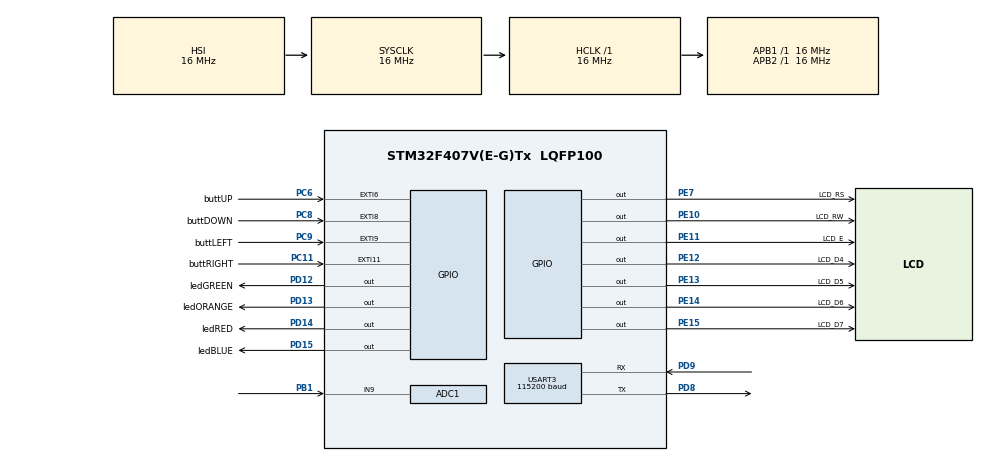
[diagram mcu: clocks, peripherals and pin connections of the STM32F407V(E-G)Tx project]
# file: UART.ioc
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ADC1.Channel-0\#ChannelRegularConversion=ADC_CHANNEL_9
ADC1.Channel-1\#ChannelInjectedConversion=ADC_CHANNEL_9
ADC1.InjNumberOfConversion=1
ADC1.InjectedOffset-1\#ChannelInjectedConversion=0
ADC1.InjectedRank-1\#ChannelInjectedConversion=1
ADC1.NbrOfConversionFlag=1
ADC1.Rank-0\#ChannelRegularConversion=1
ADC1.SamplingTime-0\#ChannelRegularConversion=ADC_SAMPLETIME_3CYCLES
ADC1.SamplingTime-1\#ChannelInjectedConversion=ADC_SAMPLETIME_480CYCLES
ADC1.ScanConvMode=ENABLE
ADC1.master=1
Mcu.Family=STM32F4
Mcu.Name=STM32F407V(E-G)Tx
Mcu.Package=LQFP100
NVIC.ADC_IRQn=true\:0\:0\:false\:false\:true\:true\:true
NVIC.EXTI15_10_IRQn=true\:0\:0\:false\:false\:true\:true\:true
NVIC.EXTI9_5_IRQn=true\:0\:0\:false\:false\:true\:true\:true
NVIC.PriorityGroup=NVIC_PRIORITYGROUP_4
NVIC.USART3_IRQn=true\:0\:0\:false\:false\:true\:true\:true
PA13.Mode=Trace_Asynchronous_SW
PA13.Signal=SYS_JTMS-SWDIO
PA14.Mode=Trace_Asynchronous_SW
PA14.Signal=SYS_JTCK-SWCLK
PB1.Signal=ADCx_IN9
PB3.Mode=Trace_Asynchronous_SW
PB3.Signal=SYS_JTDO-SWO
PC11.GPIO_Label=buttRIGHT
PC11.GPIO_PuPd=GPIO_PULLUP
PC11.Signal=GPXTI11
PC6.GPIO_Label=buttUP
PC6.GPIO_PuPd=GPIO_PULLUP
PC6.Signal=GPXTI6
PC8.GPIO_Label=buttDOWN
PC8.GPIO_PuPd=GPIO_PULLUP
PC8.Signal=GPXTI8
PC9.GPIO_Label=buttLEFT
PC9.GPIO_PuPd=GPIO_PULLUP
PC9.Signal=GPXTI9
PD12.GPIO_Label=ledGREEN
PD12.Signal=GPIO_Output
PD13.GPIO_Label=ledORANGE
PD13.GPIO_PuPd=GPIO_NOPULL
PD13.Signal=GPIO_Output
PD14.GPIO_Label=ledRED
PD14.GPIO_PuPd=GPIO_NOPULL
PD14.Signal=GPIO_Output
PD15.GPIO_Label=ledBLUE
PD15.GPIO_PuPd=GPIO_NOPULL
PD15.Signal=GPIO_Output
PD8.Mode=Asynchronous
PD8.Signal=USART3_TX
PD9.Mode=Asynchronous
PD9.Signal=USART3_RX
PE10.GPIO_Label=LCD_RW
PE10.Signal=GPIO_Output
PE11.GPIO_Label=LCD_E
PE11.Signal=GPIO_Output
PE12.GPIO_Label=LCD_D4
PE12.Signal=GPIO_Output
PE13.GPIO_Label=LCD_D5
PE13.Signal=GPIO_Output
PE14.GPIO_Label=LCD_D6
PE14.Signal=GPIO_Output
PE15.GPIO_Label=LCD_D7
PE15.Signal=GPIO_Output
PE7.GPIO_Label=LCD_RS
PE7.Signal=GPIO_Output
ProjectManager.HeapSize=0x200
ProjectManager.StackSize=0x400
ProjectManager.TargetToolchain=STM32CubeIDE
RCC.AHBFreq_Value=16000000
RCC.APB1Freq_Value=16000000
RCC.APB2Freq_Value=16000000
RCC.CortexFreq_Value=16000000
RCC.HSE_VALUE=25000000
RCC.HSI_VALUE=16000000
RCC.LSE_VALUE=32768
RCC.SYSCLKFreq_VALUE=16000000
RCC.VCOOutputFreq_Value=192000000
SH.ADCx_IN9.0=ADC1_IN9,IN9
USART3.BaudRate=115200
USART3.OverSampling=UART_OVERSAMPLING_16
USART3.VirtualMode=VM_ASYNC
board=custom

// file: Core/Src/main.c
/* USER CODE BEGIN Header */
/*
 * -----------------------------------------------------------------------------
 * UART.
 * ADC1 - external temp sensor(lm335)
 * 4 pins output:
 * green(PD12), orange(PD13), red(PD14), blue(PD15) - digital.
 * 4 buttons:
 * up(PC6), down(PC8), left(PC9), right(PC11).
 * Key control:
 * UP/DOWN/LEFT/RIGHT - red/green/orange/blue.
 * Printing the status of the LEDs (Y-on/N-off) and temperature on the LSD display.
 * The LEDs are controlled by buttons on the board or from a computer via UART.
 * Every 5 seconds (or when the state of the LEDs changes) the board sends data on the UART.
 * -----------------------------------------------------------------------------
 */
/**
  ******************************************************************************
  * @file           : main.c
  * @brief          : Main program body
  ******************************************************************************
  * @attention
  *
  * <h2><center>&copy; Copyright (c) 2021 STMicroelectronics.
  * All rights reserved.</center></h2>
  *
  * This software component is licensed by ST under BSD 3-Clause license,
  * the "License"; You may not use this file except in compliance with the
  * License. You may obtain a copy of the License at:
  *                        opensource.org/licenses/BSD-3-Clause
  *
  ******************************************************************************
  */
/* USER CODE END Header */
#include "main.h"

/* USER CODE BEGIN Includes */
#include <stdio.h>
#include <string.h>
#include "hd44780.h"
/* USER CODE END Includes */

ADC_HandleTypeDef hadc1;

UART_HandleTypeDef huart3;

/* USER CODE BEGIN PV */
_Bool flag_green = 0;
_Bool flag_orange = 0;
_Bool flag_red = 0;
_Bool flag_blue = 0;
uint32_t adcEXT = 0;	// External temp sensor(lm335)
uint32_t sendTimer = 0;
uint16_t sendInterval = 5000;
float tempEXT;
// Degree symbol
uint8_t symbDegree[FONT_HEIGHT] =
{
		0b01100,
		0b10010,
		0b10010,
		0b01100,
		0b00000,
		0b00000,
		0b00000,
		0b00000
};
/* USER CODE END PV */

void SystemClock_Config(void);
static void MX_GPIO_Init(void);
static void MX_USART3_UART_Init(void);
static void MX_ADC1_Init(void);
/* USER CODE BEGIN PFP */
void HAL_GPIO_EXTI_Callback(uint16_t GPIO_Pin);
void sendState();
void printDataLCD();
float calcTempEXT(uint16_t inputADC_EXT);
/* USER CODE END PFP */

int main(void)
{

  /* MCU Configuration--------------------------------------------------------*/

  /* Reset of all peripherals, Initializes the Flash interface and the Systick. */
  HAL_Init();

  /* Configure the system clock */
  SystemClock_Config();

  /* Initialize all configured peripherals */
  MX_GPIO_Init();
  MX_USART3_UART_Init();
  MX_ADC1_Init();
  /* USER CODE BEGIN 2 */
  HAL_ADC_Start_IT(&hadc1);
  //Initialization of the LCD display
  lcdInit();
  /* USER CODE END 2 */

  /* Infinite loop */
  /* USER CODE BEGIN WHILE */
  while (1)
  {
	  // Get ADC value from lm335
	  HAL_ADCEx_InjectedStart(&hadc1);
	  HAL_ADC_PollForConversion(&hadc1,100);
	  adcEXT = HAL_ADCEx_InjectedGetValue(&hadc1, ADC_INJECTED_RANK_1);
	  HAL_ADCEx_InjectedStop(&hadc1);
	  // Calculating the value of temperature in degrees Celsius.
	  tempEXT = calcTempEXT(adcEXT);
	  printDataLCD();

	  // On/Off leds according to the flags
	  HAL_GPIO_WritePin(GPIOD, ledGREEN_Pin, flag_green);
	  HAL_GPIO_WritePin(GPIOD, ledORANGE_Pin, flag_orange);
	  HAL_GPIO_WritePin(GPIOD, ledRED_Pin, flag_red);
	  HAL_GPIO_WritePin(GPIOD, ledBLUE_Pin, flag_blue);

	  // UART poll
	  uint8_t rcvBuf[1];
	  HAL_StatusTypeDef result;
	  result = HAL_UART_Receive(&huart3, rcvBuf, 1, 20);
	  if (result == HAL_OK)
	  {
		  switch (rcvBuf[0])
		  {
		  		case '1':
		  			flag_red = !flag_red;
		  			break;
		  		case '2':
		  			flag_green = !flag_green;
		  			break;
		  		case '3':
		  			flag_orange = !flag_orange;
		  			break;
		  		case '4':
		  			flag_blue = !flag_blue;
		  			break;
		  		default:
		  			__NOP();
		  			break;
		  }
		  sendState();
		  rcvBuf[0] = 0;
	  }
	  // Every 5 sec
	  if((HAL_GetTick() - sendTimer) > sendInterval)
	  {
		  sendState();
		  sendTimer = HAL_GetTick();
	  }
    /* USER CODE END WHILE */

  }
}

void SystemClock_Config(void)
{
  RCC_OscInitTypeDef RCC_OscInitStruct = {0};
  RCC_ClkInitTypeDef RCC_ClkInitStruct = {0};

  /** Configure the main internal regulator output voltage
  */
  __HAL_RCC_PWR_CLK_ENABLE();
  __HAL_PWR_VOLTAGESCALING_CONFIG(PWR_REGULATOR_VOLTAGE_SCALE1);
  /** Initializes the RCC Oscillators according to the specified parameters
  * in the RCC_OscInitTypeDef structure.
  */
  RCC_OscInitStruct.OscillatorType = RCC_OSCILLATORTYPE_HSI;
  RCC_OscInitStruct.HSIState = RCC_HSI_ON;
  RCC_OscInitStruct.HSICalibrationValue = RCC_HSICALIBRATION_DEFAULT;
  RCC_OscInitStruct.PLL.PLLState = RCC_PLL_NONE;
  if (HAL_RCC_OscConfig(&RCC_OscInitStruct) != HAL_OK)
  {
    Error_Handler();
  }
  /** Initializes the CPU, AHB and APB buses clocks
  */
  RCC_ClkInitStruct.ClockType = RCC_CLOCKTYPE_HCLK|RCC_CLOCKTYPE_SYSCLK
                              |RCC_CLOCKTYPE_PCLK1|RCC_CLOCKTYPE_PCLK2;
  RCC_ClkInitStruct.SYSCLKSource = RCC_SYSCLKSOURCE_HSI;
  RCC_ClkInitStruct.AHBCLKDivider = RCC_SYSCLK_DIV1;
  RCC_ClkInitStruct.APB1CLKDivider = RCC_HCLK_DIV1;
  RCC_ClkInitStruct.APB2CLKDivider = RCC_HCLK_DIV1;

  if (HAL_RCC_ClockConfig(&RCC_ClkInitStruct, FLASH_LATENCY_0) != HAL_OK)
  {
    Error_Handler();
  }
}

static void MX_ADC1_Init(void)
{

  ADC_ChannelConfTypeDef sConfig = {0};
  ADC_InjectionConfTypeDef sConfigInjected = {0};

  /** Configure the global features of the ADC (Clock, Resolution, Data Alignment and number of conversion)
  */
  hadc1.Instance = ADC1;
  hadc1.Init.ClockPrescaler = ADC_CLOCK_SYNC_PCLK_DIV2;
  hadc1.Init.Resolution = ADC_RESOLUTION_12B;
  hadc1.Init.ScanConvMode = ENABLE;
  hadc1.Init.ContinuousConvMode = DISABLE;
  hadc1.Init.DiscontinuousConvMode = DISABLE;
  hadc1.Init.ExternalTrigConvEdge = ADC_EXTERNALTRIGCONVEDGE_NONE;
  hadc1.Init.ExternalTrigConv = ADC_SOFTWARE_START;
  hadc1.Init.DataAlign = ADC_DATAALIGN_RIGHT;
  hadc1.Init.NbrOfConversion = 1;
  hadc1.Init.DMAContinuousRequests = DISABLE;
  hadc1.Init.EOCSelection = ADC_EOC_SINGLE_CONV;
  if (HAL_ADC_Init(&hadc1) != HAL_OK)
  {
    Error_Handler();
  }
  /** Configure for the selected ADC regular channel its corresponding rank in the sequencer and its sample time.
  */
  sConfig.Channel = ADC_CHANNEL_9;
  sConfig.Rank = 1;
  sConfig.SamplingTime = ADC_SAMPLETIME_3CYCLES;
  if (HAL_ADC_ConfigChannel(&hadc1, &sConfig) != HAL_OK)
  {
    Error_Handler();
  }
  /** Configures for the selected ADC injected channel its corresponding rank in the sequencer and its sample time
  */
  sConfigInjected.InjectedChannel = ADC_CHANNEL_9;
  sConfigInjected.InjectedRank = 1;
  sConfigInjected.InjectedNbrOfConversion = 1;
  sConfigInjected.InjectedSamplingTime = ADC_SAMPLETIME_480CYCLES;
  sConfigInjected.ExternalTrigInjecConvEdge = ADC_EXTERNALTRIGINJECCONVEDGE_NONE;
  sConfigInjected.ExternalTrigInjecConv = ADC_INJECTED_SOFTWARE_START;
  sConfigInjected.AutoInjectedConv = DISABLE;
  sConfigInjected.InjectedDiscontinuousConvMode = DISABLE;
  sConfigInjected.InjectedOffset = 0;
  if (HAL_ADCEx_InjectedConfigChannel(&hadc1, &sConfigInjected) != HAL_OK)
  {
    Error_Handler();
  }

}

static void MX_USART3_UART_Init(void)
{

  huart3.Instance = USART3;
  huart3.Init.BaudRate = 115200;
  huart3.Init.WordLength = UART_WORDLENGTH_8B;
  huart3.Init.StopBits = UART_STOPBITS_1;
  huart3.Init.Parity = UART_PARITY_NONE;
  huart3.Init.Mode = UART_MODE_TX_RX;
  huart3.Init.HwFlowCtl = UART_HWCONTROL_NONE;
  huart3.Init.OverSampling = UART_OVERSAMPLING_16;
  if (HAL_UART_Init(&huart3) != HAL_OK)
  {
    Error_Handler();
  }

}

static void MX_GPIO_Init(void)
{
  GPIO_InitTypeDef GPIO_InitStruct = {0};

  /* GPIO Ports Clock Enable */
  __HAL_RCC_GPIOB_CLK_ENABLE();
  __HAL_RCC_GPIOE_CLK_ENABLE();
  __HAL_RCC_GPIOD_CLK_ENABLE();
  __HAL_RCC_GPIOC_CLK_ENABLE();
  __HAL_RCC_GPIOA_CLK_ENABLE();

  /*Configure GPIO pin Output Level */
  HAL_GPIO_WritePin(GPIOE, LCD_RS_Pin|LCD_RW_Pin|LCD_E_Pin|LCD_D4_Pin
                          |LCD_D5_Pin|LCD_D6_Pin|LCD_D7_Pin, GPIO_PIN_RESET);

  /*Configure GPIO pin Output Level */
  HAL_GPIO_WritePin(GPIOD, ledGREEN_Pin|ledORANGE_Pin|ledRED_Pin|ledBLUE_Pin, GPIO_PIN_RESET);

  /*Configure GPIO pins : LCD_RS_Pin LCD_RW_Pin LCD_E_Pin LCD_D4_Pin
                           LCD_D5_Pin LCD_D6_Pin LCD_D7_Pin */
  GPIO_InitStruct.Pin = LCD_RS_Pin|LCD_RW_Pin|LCD_E_Pin|LCD_D4_Pin
                          |LCD_D5_Pin|LCD_D6_Pin|LCD_D7_Pin;
  GPIO_InitStruct.Mode = GPIO_MODE_OUTPUT_PP;
  GPIO_InitStruct.Pull = GPIO_NOPULL;
  GPIO_InitStruct.Speed = GPIO_SPEED_FREQ_LOW;
  HAL_GPIO_Init(GPIOE, &GPIO_InitStruct);

  /*Configure GPIO pins : ledGREEN_Pin ledORANGE_Pin ledRED_Pin ledBLUE_Pin */
  GPIO_InitStruct.Pin = ledGREEN_Pin|ledORANGE_Pin|ledRED_Pin|ledBLUE_Pin;
  GPIO_InitStruct.Mode = GPIO_MODE_OUTPUT_PP;
  GPIO_InitStruct.Pull = GPIO_NOPULL;
  GPIO_InitStruct.Speed = GPIO_SPEED_FREQ_LOW;
  HAL_GPIO_Init(GPIOD, &GPIO_InitStruct);

  /*Configure GPIO pins : buttUP_Pin buttDOWN_Pin buttLEFT_Pin buttRIGHT_Pin */
  GPIO_InitStruct.Pin = buttUP_Pin|buttDOWN_Pin|buttLEFT_Pin|buttRIGHT_Pin;
  GPIO_InitStruct.Mode = GPIO_MODE_IT_RISING;
  GPIO_InitStruct.Pull = GPIO_PULLUP;
  HAL_GPIO_Init(GPIOC, &GPIO_InitStruct);

  /* EXTI interrupt init*/
  HAL_NVIC_SetPriority(EXTI9_5_IRQn, 0, 0);
  HAL_NVIC_EnableIRQ(EXTI9_5_IRQn);

  HAL_NVIC_SetPriority(EXTI15_10_IRQn, 0, 0);
  HAL_NVIC_EnableIRQ(EXTI15_10_IRQn);

}

/* USER CODE BEGIN 4 */
void printDataLCD()
{
	/* Function for displaying values. */
   lcdClrScr();	// Clear the display

   lcdLoadChar(symbDegree,6); // Load the degree symbol into memory

   lcdGoto(LCD_1st_LINE,0);
   lcdPuts("Temp: ");
   lcdFtos(tempEXT,1); // 1 decimal place
   lcdPutc(6); // Print the degree symbol

   lcdGoto(LCD_1st_LINE,0);
   lcdPuts("\nLedState ");
   _Bool flags[4] =
   {
		   flag_green,
		   flag_orange,
		   flag_red,
		   flag_blue,
   };
   for (int i = 0; i < 4; i++)
   {
	   if (flags[i] == 1)
		   lcdPuts("Y");
	   else
		   lcdPuts("N");
	   if (i < 3)
		   lcdPuts("/");
   }
}

float calcTempEXT(uint16_t inputADC_EXT)
{
	/*
	 * We get the inverted value of the ADC.
	 * (the higher the temperature, the lower the value)
	 * -24 *C = 2.50v
	 *  0  *С = 2.02v(Vo)
	 *  50 *C = 1.02v
	 *  100*C = 0.02v
	 *  => 1*C = 0.02v
	 * voltage = inputADC_EXT*2.98/4096;
	 * where 2.98 is voltage on the sensor;
	 * temp*C = (Vo - voltage) / 0.02
	 */
	return (2.02 - (inputADC_EXT*2.98/(float)4096)) / 0.02;
}

void sendState()
{
	char str[30];
	sprintf (str, "%d%d%d%d%li", flag_red, flag_green, flag_orange, flag_blue, adcEXT);
	HAL_UART_Transmit(&huart3, (uint8_t *)str, strlen(str), 10);
}

void HAL_GPIO_EXTI_Callback(uint16_t GPIO_Pin)
{
	/* External interrupt handler function. */
	/* Tracking on which pin the interrupt was triggered. */
	switch (GPIO_Pin)
	{
		case buttLEFT_Pin:
			flag_orange = !flag_orange;
			break;
		case buttRIGHT_Pin:
			flag_blue = !flag_blue;
			break;
		case buttUP_Pin:
			flag_red = !flag_red;
			break;
		case buttDOWN_Pin:
			flag_green = !flag_green;
			break;
		default:
			__NOP();
			break;
	}
	sendState();
}
/* USER CODE END 4 */

void Error_Handler(void)
{
  __disable_irq();
  while (1)
  {
  }
}

/************************ (C) COPYRIGHT STMicroelectronics *****END OF FILE****/
